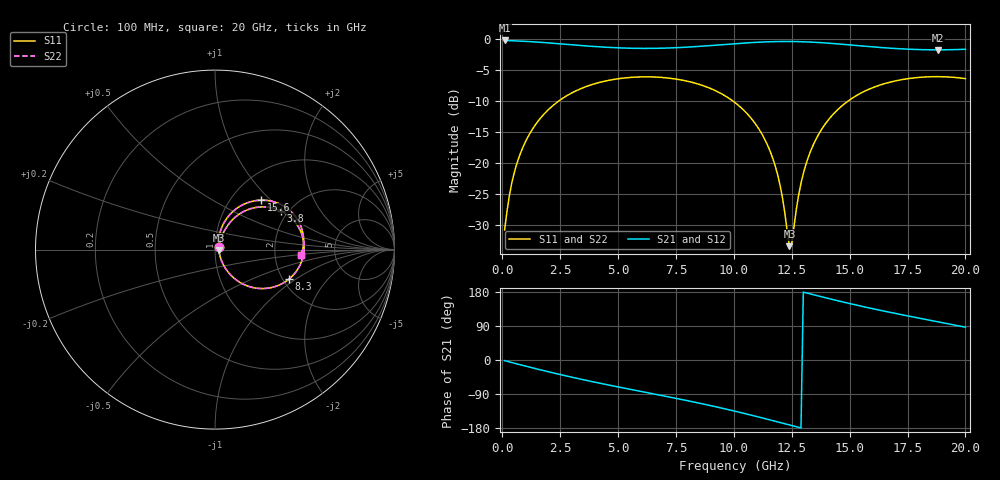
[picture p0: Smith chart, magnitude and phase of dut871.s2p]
! Touchstone file exported from HFSS 2026.1.0
!  File:  C:/ffzhzh/LocalFiles/Ansys_Project_Files/temp_train_TSV_RDL_871_1783272160_39728.aedt
!  Generated:  01:33:46 AM Jul  6, 2026
!  Design:  TSV_RDL
!  Project:  temp_train_TSV_RDL_871_1783272160_39728
! Variables:
!  h_bsmrdl = 2.19um
!  h_ox = 20um
!  h_rdl = 5um
!  h_sub = 86.17um
!  h_tmrdl = 4.43um
!  h_tsv = 86.17um
!  h_via = 3um
!  l_bsmrdl = 965.31um
!  l_sub = 4421.98um
!  l_tmrdl = 251.19um
!  m_sub = 200um
!  pitch = 55.69um
!  r_tsv = 14.18um
!  s_tmrdl = 10um
!  w_bsmrdl = 29.79um
!  w_sub = 500um
!  w_tmrdl = 10.64um
!  x_tsv_center1 = 256.51um
!  x_tsv_center2 = 1251.61um
!  x_tsv_center3 = 1513.44um
!  x_tsv_center4 = 2508.54um
!  x_tsv_center5 = 2770.37um
!  x_tsv_center6 = 3765.47um
# GHz S MA R 50.000000
! Terminal data exported
! Port[1] = TM_RDL1_1_T1
! Port[2] = TM_RDL5_1_T1
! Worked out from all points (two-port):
!   200 points, 100 MHz to 20 GHz, reference 50 ohm
!   highest |S21| = -0.21 dB at 100 MHz (marker M1); lowest = -1.7 dB at 18.8 GHz (marker M2)
!   |S21| within 3 dB of the highest: start of sweep to end of sweep
!   lowest |S11| = -33.4 dB at 12.4 GHz (marker M3), VSWR 1.04, Z = 52.2 - j0.317 ohm
!   |S11| at or under -10 dB: start of sweep to 2.431 GHz; 9.965 GHz to 14.93 GHz (4.964 GHz wide, 39.9 % of centre)
!   |S22| runs from -33.4 to -6.1 dB; largest |S21 - S12| = 1.6e-14
!   S11 on the Smith chart (normalised r, x): 100 MHz: 1.05, +0.03; 3.8 GHz: 1.83, +0.96; 8.3 GHz: 2.15, -0.88; 15.6 GHz: 1.36, +0.88; 20 GHz: 2.83, -0.23
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0.1  0.02885 32.5  0.976 -1.7  0.976 -1.7  0.02885 32.5
! Gamma 0 0 0 0
! Port Impedance 50 0 50 0
0.3  0.05386 56.6  0.9733 -5.0  0.9733 -5.0  0.05386 56.6
0.5  0.08146 62.1  0.9696 -8.2  0.9696 -8.2  0.08146 62.1
1.1  0.1617 61.7  0.9573 -17.6  0.9573 -17.6  0.1617 61.7
2.1  0.2819 51.2  0.9295 -32.7  0.9295 -32.7  0.2819 51.2
3.5  0.4062 34.1  0.8852 -52.1  0.8852 -52.1  0.4062 34.1
3.8  0.4256 30.4  0.8767 -56.0  0.8767 -56.0  0.4256 30.4
6.8  0.4923 -4.3  0.8445 -92.7  0.8445 -92.7  0.4923 -4.3
8.3  0.4429 -21.9  0.8691 -111.2  0.8691 -111.2  0.4429 -21.9
10.1  0.3025 -44.6  0.9203 -135.8  0.9203 -135.8  0.3025 -44.6
11  0.1988 -55.7  0.9435 -149.3  0.9435 -149.3  0.1988 -55.7
11.6  0.1201 -60.9  0.9537 -158.6  0.9537 -158.6  0.1201 -60.9
12  0.06582 -58.7  0.9571 -165.0  0.9571 -165.0  0.06583 -58.7
12.4  0.02136 -8.2  0.9576 -171.4  0.9576 -171.4  0.02133 -8.2
12.5  0.0224 28.3  0.9572 -172.9  0.9572 -172.9  0.02237 28.3
12.9  0.06875 71.6  0.9538 -179.3  0.9538 -179.3  0.06873 71.7
13.4  0.1362 72.7  0.9454 172.8  0.9454 172.8  0.1362 72.8
14.3  0.2488 63.3  0.9216 159.1  0.9216 159.1  0.2488 63.4
15.6  0.3763 47.1  0.8788 140.7  0.8788 140.7  0.3763 47.1
16.7  0.4476 33.7  0.8467 126.3  0.8467 126.3  0.4476 33.8
18.8  0.4981 9.8  0.8198 100.9  0.8198 100.9  0.4982 9.9
20  0.4801 -3.7  0.8289 86.5  0.8289 86.5  0.4802 -3.6
